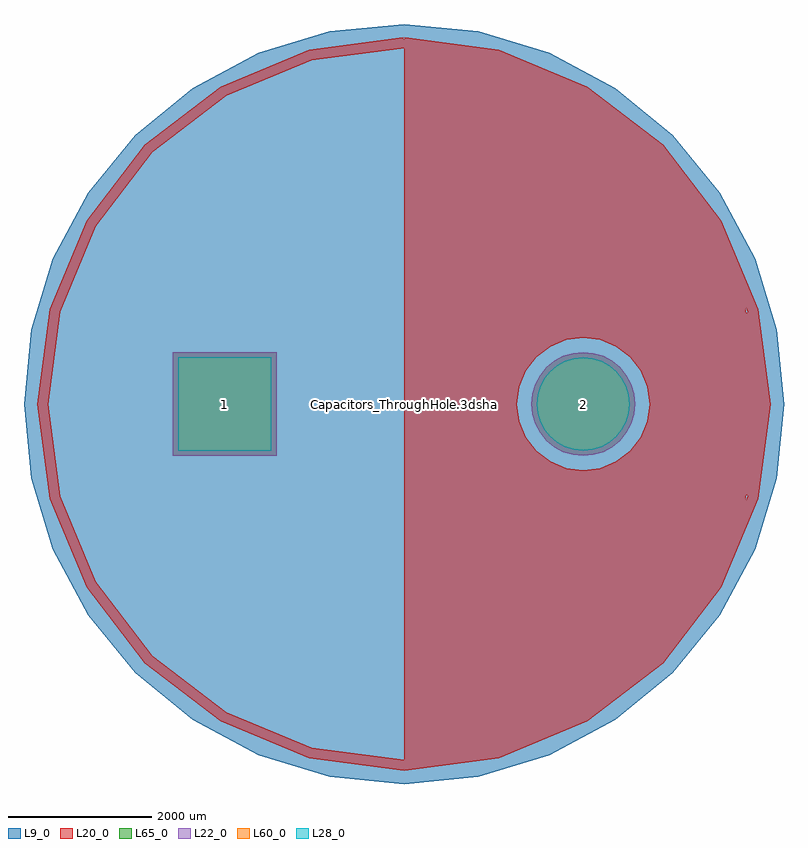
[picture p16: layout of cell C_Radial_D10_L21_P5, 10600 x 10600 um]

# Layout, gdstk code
import gdstk
lib = gdstk.Library(unit=1e-6, precision=1e-09)
def R(c, l, rs):  # rectangles x0, y0, x1, y1
    for r in rs: c.add(gdstk.rectangle(r[:2], r[2:], *l))
def P(c, l, *ps):  # polygons
    for p in ps: c.add(gdstk.Polygon(p, *l))
L9_0 = (9, 0)
L20_0 = (20, 0)
L22_0 = (22, 0)
L28_0 = (28, 0)
L60_0 = (60, 0)
L65_0 = (65, 0)

c_radial_d10_l21_p5 = lib.new_cell('C_Radial_D10_L21_P5')
P(c_radial_d10_l21_p5, L9_0, [(7800,0),(7698.162,1033.979),(7396.562,2028.222),(6906.789,2944.522),(6247.666,3747.666),(5444.522,4406.789),(4528.222,4896.562),(3533.979,5198.162),(2500,5300),(1466.021,5198.162),(471.778,4896.562),(-444.522,4406.789),(-1247.666,3747.666),(-1906.789,2944.522),(-2396.562,2028.222),(-2698.162,1033.979),(-2800,0),(-2698.162,-1033.979),(-2396.562,-2028.222),(-1906.789,-2944.522),(-1247.666,-3747.666),(-444.522,-4406.789),(471.778,-4896.562),(1466.021,-5198.162),(2500,-5300),(3533.979,-5198.162),(4528.222,-4896.562),(5444.522,-4406.789),(6247.666,-3747.666),(6906.789,-2944.522),(7396.562,-2028.222),(7698.162,-1033.979)])
R(c_radial_d10_l21_p5, L22_0, [(-725,-725,725,725)])
P(c_radial_d10_l21_p5, L22_0, [(5725,0),(5711.069,141.44),(5669.813,277.445),(5602.815,402.788),(5512.652,512.652),(5402.788,602.815),(5277.445,669.813),(5141.44,711.069),(5000,725),(4858.56,711.069),(4722.555,669.813),(4597.212,602.815),(4487.348,512.652),(4397.185,402.788),(4330.187,277.445),(4288.931,141.44),(4275,0),(4288.931,-141.44),(4330.187,-277.445),(4397.185,-402.788),(4487.348,-512.652),(4597.212,-602.815),(4722.555,-669.813),(4858.56,-711.069),(5000,-725),(5141.44,-711.069),(5277.445,-669.813),(5402.788,-602.815),(5512.652,-512.652),(5602.815,-402.788),(5669.813,-277.445),(5711.069,-141.44)])
R(c_radial_d10_l21_p5, L28_0, [(-650,-650,650,650)])
P(c_radial_d10_l21_p5, L28_0, [(5650,0),(5637.51,126.809),(5600.522,248.744),(5540.455,361.121),(5459.619,459.619),(5361.121,540.455),(5248.744,600.522),(5126.809,637.51),(5000,650),(4873.191,637.51),(4751.256,600.522),(4638.879,540.455),(4540.381,459.619),(4459.545,361.121),(4399.478,248.744),(4362.49,126.809),(4350,0),(4362.49,-126.809),(4399.478,-248.744),(4459.545,-361.121),(4540.381,-459.619),(4638.879,-540.455),(4751.256,-600.522),(4873.191,-637.51),(5000,-650),(5126.809,-637.51),(5248.744,-600.522),(5361.121,-540.455),(5459.619,-459.619),(5540.455,-361.121),(5600.522,-248.744),(5637.51,-126.809)])
R(c_radial_d10_l21_p5, L60_0, [(-650,-650,650,650)])
P(c_radial_d10_l21_p5, L60_0, [(5650,0),(5637.51,126.809),(5600.522,248.744),(5540.455,361.121),(5459.619,459.619),(5361.121,540.455),(5248.744,600.522),(5126.809,637.51),(5000,650),(4873.191,637.51),(4751.256,600.522),(4638.879,540.455),(4540.381,459.619),(4459.545,361.121),(4399.478,248.744),(4362.49,126.809),(4350,0),(4362.49,-126.809),(4399.478,-248.744),(4459.545,-361.121),(4540.381,-459.619),(4638.879,-540.455),(4751.256,-600.522),(4873.191,-637.51),(5000,-650),(5126.809,-637.51),(5248.744,-600.522),(5361.121,-540.455),(5459.619,-459.619),(5540.455,-361.121),(5600.522,-248.744),(5637.51,-126.809)])
R(c_radial_d10_l21_p5, L65_0, [(-725,-725,725,725)])
P(c_radial_d10_l21_p5, L65_0, [(5725,0),(5711.069,141.44),(5669.813,277.445),(5602.815,402.788),(5512.652,512.652),(5402.788,602.815),(5277.445,669.813),(5141.44,711.069),(5000,725),(4858.56,711.069),(4722.555,669.813),(4597.212,602.815),(4487.348,512.652),(4397.185,402.788),(4330.187,277.445),(4288.931,141.44),(4275,0),(4288.931,-141.44),(4330.187,-277.445),(4397.185,-402.788),(4487.348,-512.652),(4597.212,-602.815),(4722.555,-669.813),(4858.56,-711.069),(5000,-725),(5141.44,-711.069),(5277.445,-669.813),(5402.788,-602.815),(5512.652,-512.652),(5602.815,-402.788),(5669.813,-277.445),(5711.069,-141.44)])
c_radial_d10_l21_p5.add(gdstk.FlexPath([(2500,5037.5),(1196.199,4865.851),(-18.75,4362.603),(-1062.05,3562.05),(-1862.603,2518.75),(-2365.851,1303.801),(-2537.5,0),(-2365.851,-1303.801),(-1862.603,-2518.75),(-1062.05,-3562.05),(-18.75,-4362.603),(1196.199,-4865.851),(2500,-5037.5),(3803.801,-4865.851),(5018.75,-4362.603),(6062.05,-3562.05),(6862.603,-2518.75),(7365.851,-1303.801),(7537.5,0),(7365.851,1303.801),(6862.603,2518.75),(6062.05,3562.05),(5018.75,4362.603),(3803.801,4865.851),(2500,5037.5)], 149.998, ends="flush", simple_path=True, layer=20, datatype=0))  # L20_0
c_radial_d10_l21_p5.add(gdstk.FlexPath([(5000,1000),(4741.181,965.926),(4500,866.025),(4292.893,707.107),(4133.975,500),(4034.074,258.819),(4000,0),(4034.074,-258.819),(4133.975,-500),(4292.893,-707.107),(4500,-866.025),(4741.181,-965.926),(5000,-1000),(5258.819,-965.926),(5500,-866.025),(5707.107,-707.107),(5866.025,-500),(5965.926,-258.819),(6000,0),(5965.926,258.819),(5866.025,500),(5707.107,707.107),(5500,866.025),(5258.819,965.926),(5000,1000)], 149.998, ends="flush", simple_path=True, layer=20, datatype=0))  # L20_0
c_radial_d10_l21_p5.add(gdstk.FlexPath([(7475,499),(7475,-499)], 149.998, ends="flush", simple_path=True, layer=20, datatype=0))  # L20_0
c_radial_d10_l21_p5.add(gdstk.FlexPath([(7335,1274),(7335,-1274)], 149.998, ends="flush", simple_path=True, layer=20, datatype=0))  # L20_0
c_radial_d10_l21_p5.add(gdstk.FlexPath([(7195,1720),(7195,-1720)], 149.998, ends="flush", simple_path=True, layer=20, datatype=0))  # L20_0
c_radial_d10_l21_p5.add(gdstk.FlexPath([(7055,2062),(7055,-2062)], 149.998, ends="flush", simple_path=True, layer=20, datatype=0))  # L20_0
c_radial_d10_l21_p5.add(gdstk.FlexPath([(6915,2347),(6915,-2347)], 149.998, ends="flush", simple_path=True, layer=20, datatype=0))  # L20_0
c_radial_d10_l21_p5.add(gdstk.FlexPath([(6775,2593),(6775,-2593)], 149.998, ends="flush", simple_path=True, layer=20, datatype=0))  # L20_0
c_radial_d10_l21_p5.add(gdstk.FlexPath([(6635,2811),(6635,-2811)], 149.998, ends="flush", simple_path=True, layer=20, datatype=0))  # L20_0
c_radial_d10_l21_p5.add(gdstk.FlexPath([(6495,3007),(6495,-3007)], 149.998, ends="flush", simple_path=True, layer=20, datatype=0))  # L20_0
c_radial_d10_l21_p5.add(gdstk.FlexPath([(6355,3184),(6355,-3184)], 149.998, ends="flush", simple_path=True, layer=20, datatype=0))  # L20_0
c_radial_d10_l21_p5.add(gdstk.FlexPath([(6215,3346),(6215,-3346)], 149.998, ends="flush", simple_path=True, layer=20, datatype=0))  # L20_0
c_radial_d10_l21_p5.add(gdstk.FlexPath([(6075,3496),(6075,-3496)], 149.998, ends="flush", simple_path=True, layer=20, datatype=0))  # L20_0
c_radial_d10_l21_p5.add(gdstk.FlexPath([(5935,-355),(5935,-3633)], 149.998, ends="flush", simple_path=True, layer=20, datatype=0))  # L20_0
c_radial_d10_l21_p5.add(gdstk.FlexPath([(5935,3633),(5935,355)], 149.998, ends="flush", simple_path=True, layer=20, datatype=0))  # L20_0
c_radial_d10_l21_p5.add(gdstk.FlexPath([(5795,-607),(5795,-3761)], 149.998, ends="flush", simple_path=True, layer=20, datatype=0))  # L20_0
c_radial_d10_l21_p5.add(gdstk.FlexPath([(5795,3761),(5795,607)], 149.998, ends="flush", simple_path=True, layer=20, datatype=0))  # L20_0
c_radial_d10_l21_p5.add(gdstk.FlexPath([(5655,-756),(5655,-3879)], 149.998, ends="flush", simple_path=True, layer=20, datatype=0))  # L20_0
c_radial_d10_l21_p5.add(gdstk.FlexPath([(5655,3879),(5655,756)], 149.998, ends="flush", simple_path=True, layer=20, datatype=0))  # L20_0
c_radial_d10_l21_p5.add(gdstk.FlexPath([(5515,-857),(5515,-3989)], 149.998, ends="flush", simple_path=True, layer=20, datatype=0))  # L20_0
c_radial_d10_l21_p5.add(gdstk.FlexPath([(5515,3989),(5515,857)], 149.998, ends="flush", simple_path=True, layer=20, datatype=0))  # L20_0
c_radial_d10_l21_p5.add(gdstk.FlexPath([(5375,-927),(5375,-4091)], 149.998, ends="flush", simple_path=True, layer=20, datatype=0))  # L20_0
c_radial_d10_l21_p5.add(gdstk.FlexPath([(5375,4091),(5375,927)], 149.998, ends="flush", simple_path=True, layer=20, datatype=0))  # L20_0
c_radial_d10_l21_p5.add(gdstk.FlexPath([(5235,-972),(5235,-4186)], 149.998, ends="flush", simple_path=True, layer=20, datatype=0))  # L20_0
c_radial_d10_l21_p5.add(gdstk.FlexPath([(5235,4186),(5235,972)], 149.998, ends="flush", simple_path=True, layer=20, datatype=0))  # L20_0
c_radial_d10_l21_p5.add(gdstk.FlexPath([(5095,-995),(5095,-4274)], 149.998, ends="flush", simple_path=True, layer=20, datatype=0))  # L20_0
c_radial_d10_l21_p5.add(gdstk.FlexPath([(5095,4274),(5095,995)], 149.998, ends="flush", simple_path=True, layer=20, datatype=0))  # L20_0
c_radial_d10_l21_p5.add(gdstk.FlexPath([(4955,-999),(4955,-4356)], 149.998, ends="flush", simple_path=True, layer=20, datatype=0))  # L20_0
c_radial_d10_l21_p5.add(gdstk.FlexPath([(4955,4356),(4955,999)], 149.998, ends="flush", simple_path=True, layer=20, datatype=0))  # L20_0
c_radial_d10_l21_p5.add(gdstk.FlexPath([(4815,-983),(4815,-4432)], 149.998, ends="flush", simple_path=True, layer=20, datatype=0))  # L20_0
c_radial_d10_l21_p5.add(gdstk.FlexPath([(4815,4432),(4815,983)], 149.998, ends="flush", simple_path=True, layer=20, datatype=0))  # L20_0
c_radial_d10_l21_p5.add(gdstk.FlexPath([(4675,-946),(4675,-4502)], 149.998, ends="flush", simple_path=True, layer=20, datatype=0))  # L20_0
c_radial_d10_l21_p5.add(gdstk.FlexPath([(4675,4502),(4675,946)], 149.998, ends="flush", simple_path=True, layer=20, datatype=0))  # L20_0
c_radial_d10_l21_p5.add(gdstk.FlexPath([(4535,-885),(4535,-4567)], 149.998, ends="flush", simple_path=True, layer=20, datatype=0))  # L20_0
c_radial_d10_l21_p5.add(gdstk.FlexPath([(4535,4567),(4535,885)], 149.998, ends="flush", simple_path=True, layer=20, datatype=0))  # L20_0
c_radial_d10_l21_p5.add(gdstk.FlexPath([(4395,-796),(4395,-4627)], 149.998, ends="flush", simple_path=True, layer=20, datatype=0))  # L20_0
c_radial_d10_l21_p5.add(gdstk.FlexPath([(4395,4627),(4395,796)], 149.998, ends="flush", simple_path=True, layer=20, datatype=0))  # L20_0
c_radial_d10_l21_p5.add(gdstk.FlexPath([(4255,-667),(4255,-4682)], 149.998, ends="flush", simple_path=True, layer=20, datatype=0))  # L20_0
c_radial_d10_l21_p5.add(gdstk.FlexPath([(4255,4682),(4255,667)], 149.998, ends="flush", simple_path=True, layer=20, datatype=0))  # L20_0
c_radial_d10_l21_p5.add(gdstk.FlexPath([(4115,-466),(4115,-4732)], 149.998, ends="flush", simple_path=True, layer=20, datatype=0))  # L20_0
c_radial_d10_l21_p5.add(gdstk.FlexPath([(4115,4732),(4115,466)], 149.998, ends="flush", simple_path=True, layer=20, datatype=0))  # L20_0
c_radial_d10_l21_p5.add(gdstk.FlexPath([(3975,4777),(3975,-4777)], 149.998, ends="flush", simple_path=True, layer=20, datatype=0))  # L20_0
c_radial_d10_l21_p5.add(gdstk.FlexPath([(3835,4818),(3835,-4818)], 149.998, ends="flush", simple_path=True, layer=20, datatype=0))  # L20_0
c_radial_d10_l21_p5.add(gdstk.FlexPath([(3695,4855),(3695,-4855)], 149.998, ends="flush", simple_path=True, layer=20, datatype=0))  # L20_0
c_radial_d10_l21_p5.add(gdstk.FlexPath([(3555,4887),(3555,-4887)], 149.998, ends="flush", simple_path=True, layer=20, datatype=0))  # L20_0
c_radial_d10_l21_p5.add(gdstk.FlexPath([(3415,4916),(3415,-4916)], 149.998, ends="flush", simple_path=True, layer=20, datatype=0))  # L20_0
c_radial_d10_l21_p5.add(gdstk.FlexPath([(3275,4940),(3275,-4940)], 149.998, ends="flush", simple_path=True, layer=20, datatype=0))  # L20_0
c_radial_d10_l21_p5.add(gdstk.FlexPath([(3135,4960),(3135,-4960)], 149.998, ends="flush", simple_path=True, layer=20, datatype=0))  # L20_0
c_radial_d10_l21_p5.add(gdstk.FlexPath([(2995,4975),(2995,-4975)], 149.998, ends="flush", simple_path=True, layer=20, datatype=0))  # L20_0
c_radial_d10_l21_p5.add(gdstk.FlexPath([(2855,4987),(2855,-4987)], 149.998, ends="flush", simple_path=True, layer=20, datatype=0))  # L20_0
c_radial_d10_l21_p5.add(gdstk.FlexPath([(2715,4995),(2715,-4995)], 149.998, ends="flush", simple_path=True, layer=20, datatype=0))  # L20_0
c_radial_d10_l21_p5.add(gdstk.FlexPath([(2575,4999),(2575,-4999)], 149.998, ends="flush", simple_path=True, layer=20, datatype=0))  # L20_0
c_radial_d10_l21_p5.add(gdstk.Label('Capacitors_ThroughHole.3dshapes/C_Radial_D10_L21_P5.wrl', (2500,0), layer=12, texttype=0))
c_radial_d10_l21_p5.add(gdstk.Label('2', (5000,0), layer=28, texttype=0))
c_radial_d10_l21_p5.add(gdstk.Label('1', (0,0), layer=28, texttype=0))
c_radial_d10_l21_p5.add(gdstk.Label('type', (2500,-6300), layer=9, texttype=0))
c_radial_d10_l21_p5.add(gdstk.Label('devicename', (2500,6300), layer=9, texttype=0))

lib.write_gds('C_Radial_D10_L21_P5.gds')
